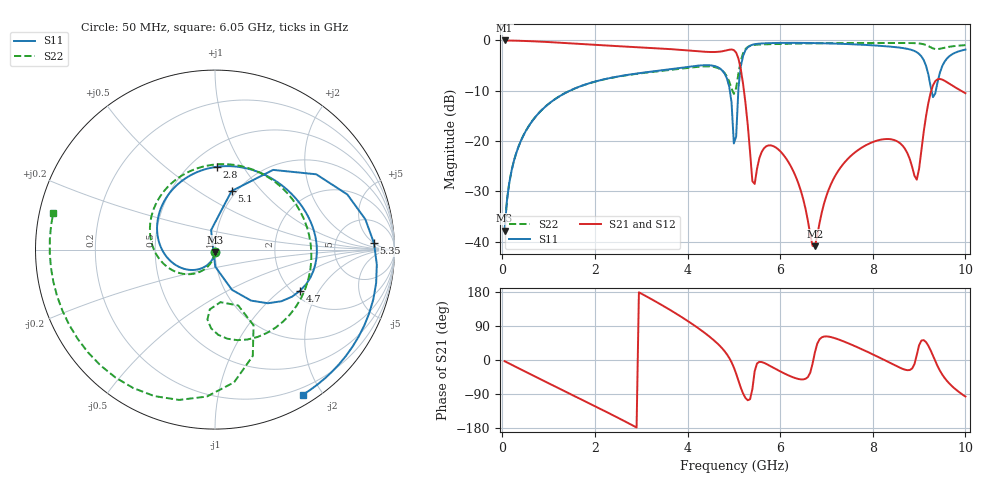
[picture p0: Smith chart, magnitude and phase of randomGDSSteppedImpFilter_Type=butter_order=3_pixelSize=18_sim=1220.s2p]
! freq	dB(S11)	phase(S11)	dB(S12)	phase(S12)
!  dB(S21)	phase(S21)	dB(S22)	phase(S22)
!S-par simulation data
#  GHz  S  DB  R 50
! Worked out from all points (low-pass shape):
!   200 points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, 50 MHz to 10 GHz, reference 50 ohm
!   highest |S21| = -0.01 dB at 50 MHz (marker M1); lowest = -40.9 dB at 6.75 GHz (marker M2)
!   |S21| within 3 dB of the highest: start of sweep to 5.074 GHz
!   lowest |S11| = -37.8 dB at 50 MHz (marker M3), VSWR 1.03, Z = 49.9 - j1.29 ohm
!   |S11| at or under -10 dB: start of sweep to 1.456 GHz; 4.913 GHz to 5.097 GHz (183.5 MHz wide, 3.67 % of centre); 9.27 GHz to 9.361 GHz (91.75 MHz wide, 0.985 % of centre)
!   |S22| runs from -37.8 to -0.5 dB; largest |S21 - S12| = 0
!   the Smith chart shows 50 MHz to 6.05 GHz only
!   S11 on the Smith chart (normalised r, x): 50 MHz: 1.00, -0.03; 2.8 GHz: 0.66, +0.78; 4.7 GHz: 2.19, -1.39; 5.1 GHz: 0.95, +0.70; 5.35 GHz: 15, +5; 6.05 GHz: 0.12, -1.76
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0.05  -37.76 -93.2  -0.01 -3.1  -0.01 -3.1  -37.75 -92.5
0.5  -18.11 -124.6  -0.11 -30.9  -0.11 -30.9  -18.10 -118.2
1.75  -8.90 152.8  -0.74 -106.7  -0.74 -106.7  -8.90 172.3
2.8  -6.71 88.5  -1.29 -171.6  -1.29 -171.6  -6.76 107.0
3.4  -5.98 54.9  -1.59 148.1  -1.59 148.1  -6.09 60.5
4.1  -5.13 17.1  -2.06 95.1  -2.06 95.1  -5.35 -7.2
4.7  -5.57 -25.8  -2.23 37.0  -2.23 37.0  -5.69 -76.2
5.05  -19.09 101.3  -2.43 -36.2  -2.43 -36.2  -9.44 -67.4
5.1  -9.40 74.2  -3.63 -54.7  -3.63 -54.7  -6.50 -63.0
5.35  -1.05 2.3  -22.13 -103.5  -22.13 -103.5  -1.08 -112.5
5.45  -0.75 -11.7  -28.50 -29.5  -28.50 -29.5  -0.89 -127.9
6.05  -0.49 -58.9  -22.49 -33.1  -22.49 -33.1  -0.68 167.1
6.7  -0.52 -95.6  -40.80 -9.6  -40.80 -9.6  -0.58 113.9
6.75  -0.53 -98.3  -40.86 19.8  -40.86 19.8  -0.57 110.3
7.3  -0.67 -128.9  -25.29 52.5  -25.29 52.5  -0.53 72.9
8.35  -1.21 155.5  -19.59 -6.2  -19.59 -6.2  -0.50 14.6
8.9  -2.10 84.1  -26.87 -10.8  -26.87 -10.8  -0.54 -11.6
9.15  -5.03 15.0  -15.03 47.2  -15.03 47.2  -0.91 -24.0
9.3  -11.27 -93.9  -8.94 11.2  -8.94 11.2  -1.59 -28.5
9.45  -6.39 146.2  -7.65 -28.1  -7.65 -28.1  -1.65 -29.4
9.6  -3.61 97.9  -8.28 -54.8  -8.28 -54.8  -1.35 -32.9
10  -1.82 30.8  -10.48 -96.4  -10.48 -96.4  -0.94 -46.1
